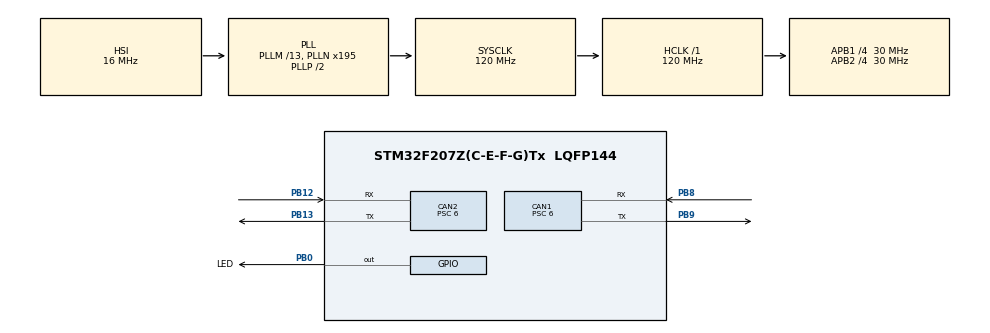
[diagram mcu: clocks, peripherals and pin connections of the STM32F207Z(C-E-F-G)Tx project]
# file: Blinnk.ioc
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CAN1.BS1=CAN_BS1_6TQ
CAN1.BS2=CAN_BS2_3TQ
CAN1.CalculateBaudRate=500000
CAN1.CalculateTimeBit=2000
CAN1.CalculateTimeQuantum=200.0
CAN1.Mode=CAN_MODE_LOOPBACK
CAN1.Prescaler=6
CAN1.SJW=CAN_SJW_1TQ
CAN2.BS1=CAN_BS1_6TQ
CAN2.BS2=CAN_BS2_3TQ
CAN2.CalculateBaudRate=500000
CAN2.CalculateTimeBit=2000
CAN2.CalculateTimeQuantum=200.0
CAN2.Mode=CAN_MODE_LOOPBACK
CAN2.Prescaler=6
CAN2.TTCM=DISABLE
Mcu.Family=STM32F2
Mcu.Name=STM32F207Z(C-E-F-G)Tx
Mcu.Package=LQFP144
NVIC.CAN1_RX0_IRQn=true\:0\:0\:false\:false\:true\:true\:true\:true
NVIC.CAN2_RX1_IRQn=true\:0\:0\:false\:false\:true\:true\:true\:true
NVIC.PVD_IRQn=true\:0\:0\:false\:false\:true\:true\:true\:true
NVIC.PriorityGroup=NVIC_PRIORITYGROUP_4
PA13.Mode=Serial_Wire
PA13.Signal=SYS_JTMS-SWDIO
PA14.Mode=Serial_Wire
PA14.Signal=SYS_JTCK-SWCLK
PB0.GPIO_Label=LED
PB0.Signal=GPIO_Output
PB12.GPIO_PuPd=GPIO_NOPULL
PB12.Mode=CAN_Activate
PB12.Signal=CAN2_RX
PB13.Mode=CAN_Activate
PB13.Signal=CAN2_TX
PB8.GPIO_PuPd=GPIO_NOPULL
PB8.Mode=CAN_Activate
PB8.Signal=CAN1_RX
PB9.Mode=CAN_Activate
PB9.Signal=CAN1_TX
PH0-OSC_IN.Mode=HSE-External-Oscillator
PH0-OSC_IN.Signal=RCC_OSC_IN
PH1-OSC_OUT.Mode=HSE-External-Oscillator
PH1-OSC_OUT.Signal=RCC_OSC_OUT
ProjectManager.HeapSize=0x200
ProjectManager.StackSize=0x400
ProjectManager.TargetToolchain=STM32CubeIDE
RCC.48MHZClocksFreq_Value=60000000
RCC.AHBFreq_Value=120000000
RCC.APB1CLKDivider=RCC_HCLK_DIV4
RCC.APB1Freq_Value=30000000
RCC.APB1TimFreq_Value=60000000
RCC.APB2CLKDivider=RCC_HCLK_DIV4
RCC.APB2Freq_Value=30000000
RCC.APB2TimFreq_Value=60000000
RCC.CortexFreq_Value=120000000
RCC.HCLKFreq_Value=120000000
RCC.HSE_VALUE=8000000
RCC.HSI_VALUE=16000000
RCC.LSE_VALUE=32768
RCC.PLLM=13
RCC.PLLMUL=RCC_PLL_MUL9
RCC.PLLN=195
RCC.PRESCALERUSB=RCC_USBCLKSOURCE_PLL_DIV1_5
RCC.SYSCLKFreq_VALUE=120000000
RCC.SYSCLKSource=RCC_SYSCLKSOURCE_PLLCLK
RCC.SYSCLKSourceVirtual=RCC_SYSCLKSOURCE_PLLCLK
RCC.USBFreq_Value=48000000
RCC.VCOOutputFreq_Value=240000000
board=NUCLEO-F207ZG

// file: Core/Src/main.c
/* USER CODE BEGIN Header */
/**
  ******************************************************************************
  * @file           : main.c
  * @brief          : Main program body
  ******************************************************************************
  * @attention
  *
  * Copyright (c) 2024 STMicroelectronics.
  * All rights reserved.
  *
  * This software is licensed under terms that can be found in the LICENSE file
  * in the root directory of this software component.
  * If no LICENSE file comes with this software, it is provided AS-IS.
  *
  ******************************************************************************
  */
/* USER CODE END Header */
#include "main.h"

CAN_HandleTypeDef hcan1;
CAN_HandleTypeDef hcan2;

/* USER CODE BEGIN PV */
CAN_TxHeaderTypeDef TxHeader1;
CAN_TxHeaderTypeDef TxHeader2;
CAN_RxHeaderTypeDef RxHeader1;
CAN_RxHeaderTypeDef RxHeader2;

uint32_t TxMailbox1[4];
uint32_t TxMailbox2[4];

uint8_t TxData1[8];
uint8_t TxData2[8];
uint8_t RxData1[8];
uint8_t RxData2[8];

uint8_t check=0;
uint8_t count = 0;

void HAL_CAN_RxFifo0MsgPendingCallback(CAN_HandleTypeDef *hcan1)
{
	HAL_CAN_GetRxMessage(hcan1, CAN_RX_FIFO0, &RxHeader1, RxData1);
	count++;
//	  if (HAL_CAN_AddTxMessage(hcan1, &TxHeader1, &TxData1[0], &TxMailbox1[0]) != HAL_OK)
//	  {
//		  Error_Handler();
//	  }
}

void HAL_CAN_RxFifo1MsgPendingCallback(CAN_HandleTypeDef *hcan2)
{
	HAL_CAN_GetRxMessage(hcan2, CAN_RX_FIFO1, &RxHeader2, RxData2);
	count++;

//	  if (HAL_CAN_AddTxMessage(hcan2, &TxHeader2, &TxData2[0], &TxMailbox2[0]) != HAL_OK)
//	  {
//		  Error_Handler();
//	  }
}

/* USER CODE END PV */

void SystemClock_Config(void);
static void MX_GPIO_Init(void);
static void MX_CAN1_Init(void);
static void MX_CAN2_Init(void);

int main(void)
{

  /* MCU Configuration--------------------------------------------------------*/

  /* Reset of all peripherals, Initializes the Flash interface and the Systick. */
  HAL_Init();

  /* Configure the system clock */
  SystemClock_Config();

  /* Initialize all configured peripherals */
  MX_GPIO_Init();
  MX_CAN1_Init();
  MX_CAN2_Init();
  /* USER CODE BEGIN 2 */
  HAL_CAN_Start(&hcan1);
  HAL_CAN_Start(&hcan2);
  HAL_CAN_ActivateNotification(&hcan1, CAN_IT_RX_FIFO0_MSG_PENDING);
  HAL_CAN_ActivateNotification(&hcan2, CAN_IT_RX_FIFO1_MSG_PENDING);

  TxHeader1.DLC = 2;
  TxHeader1.ExtId = 0;
  TxHeader1.IDE = CAN_ID_STD;
  TxHeader1.RTR = CAN_RTR_DATA;
  TxHeader1.StdId = 0x111;
  TxHeader1.TransmitGlobalTime = DISABLE;
  TxData1[0] = 0x01;
  TxData1[1] = 0x02;
  TxData1[2] = 0x03;
  TxData1[3] = 0x04;

  TxHeader2.DLC = 2;
  TxHeader2.ExtId = 0;
  TxHeader2.IDE = CAN_ID_STD;
  TxHeader2.RTR = CAN_RTR_DATA;
  TxHeader2.StdId = 0x222;
  TxHeader2.TransmitGlobalTime = DISABLE;
  TxData2[0] = 0x05;
  TxData2[1] = 0x06;
  TxData2[2] = 0x07;
  TxData2[3] = 0x08;

//  if (HAL_CAN_AddTxMessage(&hcan1, &TxHeader, &TxData[0], &TxMailbox[0]) != HAL_OK)
//  {
//	  Error_Handler();
//  }
//  if (HAL_CAN_AddTxMessage(&hcan1, &TxHeader, &TxData[1], &TxMailbox[1]) != HAL_OK)
//  {
//	  Error_Handler();
//  }
//  if (HAL_CAN_AddTxMessage(&hcan1, &TxHeader, &TxData[2], &TxMailbox[2]) != HAL_OK)
//  {
//	  Error_Handler();
//  }

  /* USER CODE END 2 */

  /* Infinite loop */
  while (1)
  {

    /* USER CODE BEGIN 3 */
	  check++;
	  HAL_GPIO_WritePin(LED_GPIO_Port, LED_Pin, GPIO_PIN_RESET);
	  HAL_Delay(1000);
	  HAL_GPIO_WritePin(LED_GPIO_Port, LED_Pin, GPIO_PIN_SET);
	  HAL_Delay(1000);
	  if (HAL_CAN_AddTxMessage(&hcan1, &TxHeader1, &TxData1[0], &TxMailbox1[0]) != HAL_OK)
	  {
		  count=100;
		  Error_Handler();
	  }

//	  if (HAL_CAN_AddTxMessage(&hcan2, &TxHeader2, &TxData2[0], &TxMailbox2[0]) != HAL_OK)
//	  {
//		  Error_Handler();
//	  }

  }
  /* USER CODE END 3 */
}

void SystemClock_Config(void)
{
  RCC_OscInitTypeDef RCC_OscInitStruct = {0};
  RCC_ClkInitTypeDef RCC_ClkInitStruct = {0};

  /** Initializes the RCC Oscillators according to the specified parameters
  * in the RCC_OscInitTypeDef structure.
  */
  RCC_OscInitStruct.OscillatorType = RCC_OSCILLATORTYPE_HSI;
  RCC_OscInitStruct.HSIState = RCC_HSI_ON;
  RCC_OscInitStruct.HSICalibrationValue = RCC_HSICALIBRATION_DEFAULT;
  RCC_OscInitStruct.PLL.PLLState = RCC_PLL_ON;
  RCC_OscInitStruct.PLL.PLLSource = RCC_PLLSOURCE_HSI;
  RCC_OscInitStruct.PLL.PLLM = 13;
  RCC_OscInitStruct.PLL.PLLN = 195;
  RCC_OscInitStruct.PLL.PLLP = RCC_PLLP_DIV2;
  RCC_OscInitStruct.PLL.PLLQ = 4;
  if (HAL_RCC_OscConfig(&RCC_OscInitStruct) != HAL_OK)
  {
    Error_Handler();
  }

  /** Initializes the CPU, AHB and APB buses clocks
  */
  RCC_ClkInitStruct.ClockType = RCC_CLOCKTYPE_HCLK|RCC_CLOCKTYPE_SYSCLK
                              |RCC_CLOCKTYPE_PCLK1|RCC_CLOCKTYPE_PCLK2;
  RCC_ClkInitStruct.SYSCLKSource = RCC_SYSCLKSOURCE_PLLCLK;
  RCC_ClkInitStruct.AHBCLKDivider = RCC_SYSCLK_DIV1;
  RCC_ClkInitStruct.APB1CLKDivider = RCC_HCLK_DIV4;
  RCC_ClkInitStruct.APB2CLKDivider = RCC_HCLK_DIV4;

  if (HAL_RCC_ClockConfig(&RCC_ClkInitStruct, FLASH_LATENCY_3) != HAL_OK)
  {
    Error_Handler();
  }
}

static void MX_CAN1_Init(void)
{

  hcan1.Instance = CAN1;
  hcan1.Init.Prescaler = 6;
  hcan1.Init.Mode = CAN_MODE_LOOPBACK;
  hcan1.Init.SyncJumpWidth = CAN_SJW_1TQ;
  hcan1.Init.TimeSeg1 = CAN_BS1_6TQ;
  hcan1.Init.TimeSeg2 = CAN_BS2_3TQ;
  hcan1.Init.TimeTriggeredMode = DISABLE;
  hcan1.Init.AutoBusOff = DISABLE;
  hcan1.Init.AutoWakeUp = DISABLE;
  hcan1.Init.AutoRetransmission = DISABLE;
  hcan1.Init.ReceiveFifoLocked = DISABLE;
  hcan1.Init.TransmitFifoPriority = DISABLE;
  if (HAL_CAN_Init(&hcan1) != HAL_OK)
  {
    Error_Handler();
  }
  /* USER CODE BEGIN CAN1_Init 2 */
  CAN_FilterTypeDef sFilterConfig;

  sFilterConfig.FilterActivation = CAN_FILTER_ENABLE;
  sFilterConfig.FilterBank = 0;  // anything between 0 to SlaveStartFilterBank
  sFilterConfig.FilterFIFOAssignment = CAN_RX_FIFO0;
   sFilterConfig.FilterIdHigh = 0;
   sFilterConfig.FilterIdLow = 0;
   sFilterConfig.FilterMaskIdHigh = 0;
   sFilterConfig.FilterMaskIdLow = 0;
   sFilterConfig.FilterMode = CAN_FILTERMODE_IDMASK;
   sFilterConfig.FilterScale = CAN_FILTERSCALE_32BIT;
   sFilterConfig.SlaveStartFilterBank = 12;  // 13 to 27 are assigned to slave CAN (CAN 2) OR 0 to 12 are assgned to CAN1

   HAL_CAN_ConfigFilter(&hcan1, &sFilterConfig);
  /* USER CODE END CAN1_Init 2 */

}

static void MX_CAN2_Init(void)
{

  hcan2.Instance = CAN2;
  hcan2.Init.Prescaler = 6;
  hcan2.Init.Mode = CAN_MODE_LOOPBACK;
  hcan2.Init.SyncJumpWidth = CAN_SJW_1TQ;
  hcan2.Init.TimeSeg1 = CAN_BS1_6TQ;
  hcan2.Init.TimeSeg2 = CAN_BS2_3TQ;
  hcan2.Init.TimeTriggeredMode = DISABLE;
  hcan2.Init.AutoBusOff = DISABLE;
  hcan2.Init.AutoWakeUp = DISABLE;
  hcan2.Init.AutoRetransmission = DISABLE;
  hcan2.Init.ReceiveFifoLocked = DISABLE;
  hcan2.Init.TransmitFifoPriority = DISABLE;
  if (HAL_CAN_Init(&hcan2) != HAL_OK)
  {
    Error_Handler();
  }
  /* USER CODE BEGIN CAN2_Init 2 */
  CAN_FilterTypeDef sFilterConfig2;

  sFilterConfig2.FilterActivation = CAN_FILTER_ENABLE;
  sFilterConfig2.FilterBank = 15;  // anything between 0 to SlaveStartFilterBank
  sFilterConfig2.FilterFIFOAssignment = CAN_RX_FIFO1;
  sFilterConfig2.FilterIdHigh = 0;
  sFilterConfig2.FilterIdLow = 0;
  sFilterConfig2.FilterMaskIdHigh = 0;
  sFilterConfig2.FilterMaskIdLow = 0;
  sFilterConfig2.FilterMode = CAN_FILTERMODE_IDMASK;
  sFilterConfig2.FilterScale = CAN_FILTERSCALE_32BIT;
  sFilterConfig2.SlaveStartFilterBank = 13;  // 13 to 27 are assigned to slave CAN (CAN 2) OR 0 to 12 are assgned to CAN1

   HAL_CAN_ConfigFilter(&hcan2, &sFilterConfig2);
  /* USER CODE END CAN2_Init 2 */

}

static void MX_GPIO_Init(void)
{
  GPIO_InitTypeDef GPIO_InitStruct = {0};

  /* GPIO Ports Clock Enable */
  __HAL_RCC_GPIOH_CLK_ENABLE();
  __HAL_RCC_GPIOB_CLK_ENABLE();
  __HAL_RCC_GPIOA_CLK_ENABLE();

  /*Configure GPIO pin Output Level */
  HAL_GPIO_WritePin(LED_GPIO_Port, LED_Pin, GPIO_PIN_RESET);

  /*Configure GPIO pin : LED_Pin */
  GPIO_InitStruct.Pin = LED_Pin;
  GPIO_InitStruct.Mode = GPIO_MODE_OUTPUT_PP;
  GPIO_InitStruct.Pull = GPIO_NOPULL;
  GPIO_InitStruct.Speed = GPIO_SPEED_FREQ_LOW;
  HAL_GPIO_Init(LED_GPIO_Port, &GPIO_InitStruct);

}

void Error_Handler(void)
{
  __disable_irq();
  while (1)
  {
  }
}
